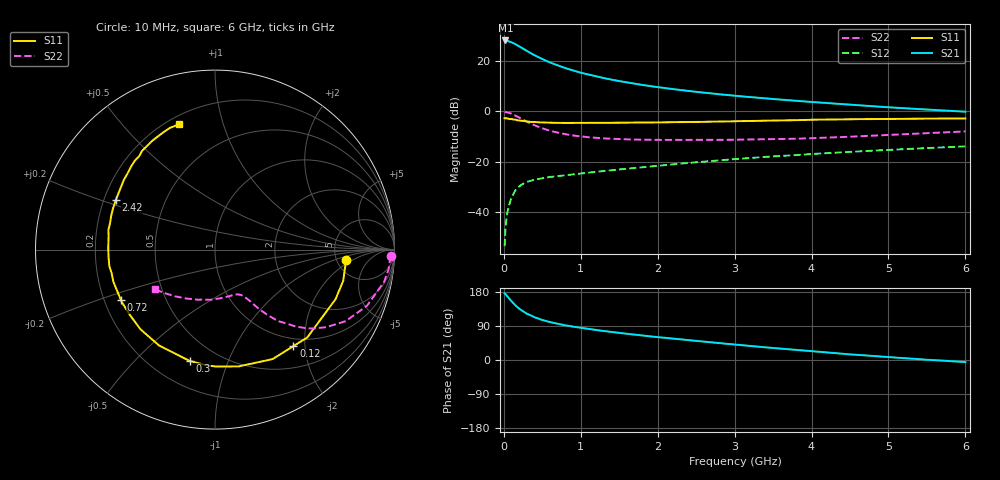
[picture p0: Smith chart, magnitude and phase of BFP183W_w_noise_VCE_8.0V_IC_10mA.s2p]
! Infineon Technologies  Discrete & RF Semiconductors
! BFP183W
! VCE = 8.0 V,  IC =  10 mA
! Common Emitter S-Parameters:  Jan 2016
# GHz  S  MA  R  50
!  f  S11  S21  S12  S22
! GHz  MAG  ANG  MAG  ANG  MAG  ANG  MAG  ANG
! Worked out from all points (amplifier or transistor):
!   210 points, 10 MHz to 6 GHz, reference 50 ohm
!   highest |S21| = 28.2 dB at 20 MHz (marker M1)
!   |S21| within 3 dB of that: start of sweep to 235.1 MHz
!   unconditionally stable (mu >= 1): 1.424 GHz to 5.437 GHz
!   at 185 MHz: K = 0.22, MSG = 28.2 dB, |S12| = -30.2 dB
!   at 1.52 GHz: K = 1.03, MAG = 16.4 dB, |S12| = -23.0 dB
!   at 6 GHz: K = 0.98, MSG = 6.9 dB, |S12| = -13.9 dB
!   lowest NFmin = 1.30 dB at 450 MHz
!   S11 on the Smith chart (normalised r, x): 10 MHz: 6.15, -1.50; 120 MHz: 0.86, -1.77; 300 MHz: 0.35, -0.73; 720 MHz: 0.27, -0.23; 2.42 GHz: 0.25, +0.22; 6 GHz: 0.25, +0.73
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0.01  0.7343 -4.4  25.79 176.1  0.0021 84.4  0.9807 -2.1
0.02  0.7314 -9.0  25.8 174.5  0.0041 84.6  0.9751 -4.3
0.03  0.7353 -13.7  25.71 172.0  0.0066 84.6  0.9732 -6.5
0.06  0.7151 -26.5  24.9 164.5  0.0122 76.6  0.9464 -12.5
0.1  0.7099 -43.6  23.78 154.9  0.0193 69.3  0.9033 -20.2
0.12  0.6928 -50.9  22.9 150.8  0.0224 65.5  0.8723 -23.4
0.15  0.6893 -62.3  21.82 144.2  0.0271 61.5  0.8314 -28.6
0.2  0.664 -78.5  19.66 135.3  0.0324 55.7  0.7557 -34.9
0.24  0.6517 -89.2  18.08 129.7  0.0358 51.7  0.7 -38.9
0.3  0.6361 -102.9  15.87 122.0  0.0398 47.4  0.6233 -43.5
0.4  0.6184 -120.3  13.06 112.6  0.044 42.4  0.5286 -48.7
0.5  0.608 -133.1  10.96 105.5  0.0472 40.2  0.4608 -51.5
0.6  0.5978 -142.6  9.397 100.0  0.0499 39.0  0.4129 -53.4
0.72  0.5946 -151.9  8.042 94.8  0.0524 38.9  0.3733 -54.8
1.02  0.5915 -167.9  5.795 84.3  0.059 40.2  0.3169 -57.6
1.4  0.5951 178.5  4.289 73.9  0.0679 42.5  0.287 -61.1
2.02  0.6079 162.2  3.02 60.0  0.0841 45.2  0.2721 -69.3
2.42  0.6178 153.5  2.535 51.8  0.0953 45.8  0.2708 -75.8
3.1  0.6426 140.7  1.992 39.0  0.1158 45.1  0.275 -88.6
4.1  0.6869 125.0  1.507 21.6  0.1456 41.7  0.2977 -111.0
5.1  0.7148 113.5  1.186 6.3  0.1753 37.1  0.3471 -132.3
6  0.7257 105.9  0.99 -5.5  0.2022 32.8  0.4011 -146.5
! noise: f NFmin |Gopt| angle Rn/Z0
0.45  1.3  0.15  45  0.18
0.9  1.4  0.2  125  0.19
1.8  2.1  0.34  -170  0.14
